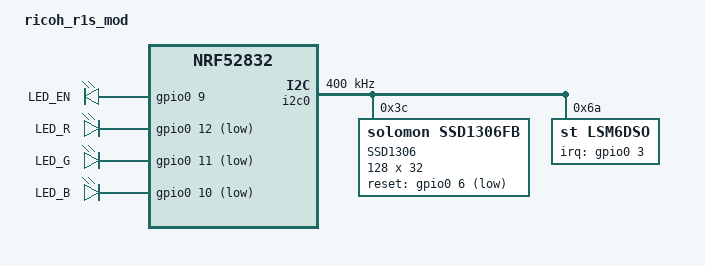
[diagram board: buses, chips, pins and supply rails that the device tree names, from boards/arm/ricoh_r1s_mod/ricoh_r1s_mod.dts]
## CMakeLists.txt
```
#
# Copyright (c) 2018 Nordic Semiconductor
#
# SPDX-License-Identifier: LicenseRef-Nordic-5-Clause
#
cmake_minimum_required(VERSION 3.20.0)
set(SHIELD ssd1306_128x32)

find_package(Zephyr REQUIRED HINTS $ENV{ZEPHYR_BASE})
project(NONE)

zephyr_cc_option(-ffunction-sections -fdata-sections -gcc-sections)

# NORDIC SDK APP START
target_sources(app PRIVATE src/main.c)


# NORDIC SDK APP END
zephyr_library_include_directories(.)
```

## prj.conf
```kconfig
#
# Copyright (c) 2018 Nordic Semiconductor
#
# SPDX-License-Identifier: LicenseRef-Nordic-5-Clause
#
CONFIG_NCS_SAMPLES_DEFAULTS=y

CONFIG_BT=y
CONFIG_BT_PERIPHERAL=y
CONFIG_BT_DEVICE_NAME="Ricoh_R1S"

CONFIG_BT_LBS=y
CONFIG_BT_LBS_POLL_BUTTON=y
CONFIG_DK_LIBRARY=y

# Enable mcumgr.
CONFIG_MCUMGR=y

# Enable most core commands.
CONFIG_MCUMGR_CMD_IMG_MGMT=y
CONFIG_MCUMGR_CMD_OS_MGMT=y

# Ensure an MCUboot-compatible binary is generated.
CONFIG_BOOTLOADER_MCUBOOT=y

# Allow for large Bluetooth data packets.
CONFIG_BT_L2CAP_TX_MTU=252
CONFIG_BT_BUF_ACL_RX_SIZE=256

# Enable the Bluetooth (unauthenticated) and shell mcumgr transports.
CONFIG_MCUMGR_SMP_BT=y
CONFIG_MCUMGR_SMP_BT_AUTHEN=n

# Some command handlers require a large stack.
CONFIG_SYSTEM_WORKQUEUE_STACK_SIZE=4096

#Logging

CONFIG_LOG=y #enable this for logging
CONFIG_BT_DEBUG_LOG=n
CONFIG_LOG_DEFAULT_LEVEL=3
CONFIG_I2C_LOG_LEVEL_INF=y
CONFIG_SENSOR_LOG_LEVEL_INF=y

CONFIG_LOG_MODE_DEFERRED=y
CONFIG_LOG_BACKEND_RTT=y #enable for RTT logging

CONFIG_USE_SEGGER_RTT=y
CONFIG_CBPRINTF_FP_SUPPORT=y

#end Logging

#CONFIG_GPIO=y
#CONFIG_SPI=y

#CONFIG_I2C_NRFX=y

#CONFIG_HAS_DTS_I2C=y
#CONFIG_I2C_0_NRF_TWI=y
#CONFIG_I2C_0=y

CONFIG_I2C=y

#Display

#CONFIG_DISPLAY=y
#CONFIG_SSD1306=y
#CONFIG_SSD1306_DEFAULT=y

#CONFIG_CHARACTER_FRAMEBUFFER=y
#CONFIG_CHARACTER_FRAMEBUFFER_USE_DEFAULT_FONTS=n

#end Display

#LVGL

CONFIG_DISPLAY=y


CONFIG_LV_Z_MEM_POOL_NUMBER_BLOCKS=6
CONFIG_MAIN_STACK_SIZE=2048

CONFIG_LVGL=y
CONFIG_LV_MEM_CUSTOM=y
CONFIG_LV_USE_LOG=y
CONFIG_LV_USE_LABEL=y
CONFIG_LV_USE_BTN=y
CONFIG_LV_USE_IMG=y
CONFIG_LV_FONT_MONTSERRAT_14=y

#CONFIG_SSD1306_REVERSE_MODE=y

#end LVGL

#Accelerometer

CONFIG_SENSOR=y
#CONFIG_LSM6DSO_TRIGGER_GLOBAL_THREAD=y


#end Accelerometer
```

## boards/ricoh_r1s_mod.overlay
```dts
/ {
    aliases {
        led0 = &led0;
        led1 = &led1;
        led2 = &led2;
        led3 = &led3;
        display0 = &ssd1306;
        accel0 = &lsmdso;

    };
};
```

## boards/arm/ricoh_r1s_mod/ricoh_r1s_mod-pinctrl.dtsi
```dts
&pinctrl {
	i2c0_default: i2c0_default {
		group1 {
			psels = <NRF_PSEL(TWIM_SDA, 0, 8)>,
				<NRF_PSEL(TWIM_SCL, 0, 7)>;
		};
	};

	i2c0_sleep: i2c0_sleep {
		group1 {
			psels = <NRF_PSEL(TWIM_SDA, 0, 8)>,
				<NRF_PSEL(TWIM_SCL, 0, 7)>;
			low-power-enable;
		};
	};
};
```

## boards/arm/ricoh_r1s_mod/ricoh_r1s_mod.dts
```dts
// Copyright (c) 2023 Nordic Semiconductor ASA
// SPDX-License-Identifier: Apache-2.0

/dts-v1/;
#include <nordic/nrf52832_qfaa.dtsi>
#include "ricoh_r1s_mod-pinctrl.dtsi"

/ {
	model = "ricoh_r1s_mod";
	compatible = "nikolozka,ricoh-r1s-mod";

	chosen {
		zephyr,sram = &sram0;
		zephyr,flash = &flash0;
		zephyr,code-partition = &slot0_partition;
	};


	leds {
		compatible = "gpio-leds";
		led0: led_0 {
			gpios = <&gpio0 9 GPIO_ACTIVE_HIGH>;
			label = "LED_EN";
		};
		led1: led_1 {
			gpios = <&gpio0 12 GPIO_ACTIVE_LOW>;
			label = "LED_R";
		};
		led2: led_2 {
			gpios = <&gpio0 11 GPIO_ACTIVE_LOW>;
			label = "LED_G";
		};
		led3: led_3 {
			gpios = <&gpio0 10 GPIO_ACTIVE_LOW>;
			label = "LED_B";
		};
	};

	/*pwmleds {
		compatible = "pwm-leds";

		red_pwm_led: red_pwm_led {
			pwms = <&gpio0 12 15625000 PWM_POLARITY_INVERTED>;
		};
		green_pwm_led: green_pwm_led {
			pwms = <&gpio0 11 15625000 PWM_POLARITY_INVERTED>;
		};
		blue_pwm_led: blue_pwm_led {
			pwms = <&gpio0 10 15625000 PWM_POLARITY_INVERTED>;
		};
	};*/
};

arduino_i2c: &i2c0 {
	compatible = "nordic,nrf-twi";
	//zephyr,concat-buf-size = <2048>;                                                      
	status = "okay";
	clock-frequency = <I2C_BITRATE_FAST>;
	pinctrl-0 = <&i2c0_default>;
	pinctrl-1 = <&i2c0_sleep>;
	pinctrl-names = "default", "sleep";

    ssd1306: ssd1306@3c {
        compatible = "solomon,ssd1306fb";
		status = "okay";
		label = "SSD1306";
		reset-gpios = <&gpio0 6 (GPIO_ACTIVE_LOW)>;
        reg = <0x3c>;
        height = <32>;
        width  = <128>;
        segment-offset  = <0>;
        page-offset     = <0>;
        display-offset  = <0>;
        multiplex-ratio = <31>;
        prechargep      = <0xD1>;
        segment-remap;
        com-invdir;
		com-sequential;

    };

	lsmdso: lsm6dso@6a {
        compatible = "st,lsm6dso";
		status = "okay";
		label = "LSM6DSO";
        reg = <0x6a>;
		irq-gpios = <&gpio0 3 GPIO_ACTIVE_HIGH>;
    };
};

&gpio0 {
	status = "okay";
};

&gpiote {
	status = "okay";
};

&spi0 {
	status = "disabled";
};

&flash0 {
	partitions {
		compatible = "fixed-partitions";
		#address-cells = <1>;
		#size-cells = <1>;

		boot_partition: partition@0 {
			label = "mcuboot";
			reg = <0x0 0xc000>;
		};
		slot0_partition: partition@c000 {
			label = "image-0";
			reg = <0xc000 0x37000>;
		};
		slot1_partition: partition@43000 {
			label = "image-1";
			reg = <0x43000 0x37000>;
		};
		/*scratch_partition: partition@70000 {
			label = "image-scratch";
			reg = <0x70000 0xa000>;
		};*/
		storage_partition: partition@7a000 {
			label = "storage";
			reg = <0x7a000 0x6000>;
		};
	};
};
```

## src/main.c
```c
/*
 * Copyright (c) 2018 Nordic Semiconductor ASA
 *
 * SPDX-License-Identifier: LicenseRef-Nordic-5-Clause
 */

#include <zephyr/types.h>
#include <stddef.h>
#include <string.h>
#include <errno.h>
#include <zephyr/sys/printk.h>
#include <zephyr/sys/byteorder.h>
#include <zephyr/kernel.h>
#include <zephyr/drivers/gpio.h>
#include <soc.h>
#include <zephyr/bluetooth/bluetooth.h>
#include <zephyr/bluetooth/hci.h>
#include <zephyr/bluetooth/conn.h>
#include <zephyr/bluetooth/uuid.h>
#include <zephyr/bluetooth/gatt.h>
#include <bluetooth/services/lbs.h>
#include <zephyr/settings/settings.h>
#include <zephyr/logging/log.h>
#include <zephyr/logging/log_ctrl.h>
#include <stdint.h>
#include <zephyr/device.h>
#include <zephyr/kernel.h>
#include <zephyr/drivers/display.h>
#include <zephyr/devicetree.h>
#include <zephyr/drivers/sensor.h>
#include <lvgl.h>





#define DISPLAY_BUFFER_PITCH 128
#define ENABLE_LSM6DSO
//#define ENABLE_DISPLAY

#ifdef ENABLE_DISPLAY
uint8_t buf2[512] = {
// 'freg', 128x32px
0xff, 0xff, 0xff, 0xff, 0xff, 0xff, 0xff, 0xff, 0xff, 0xff, 0xff, 0xff, 0xff, 0xff, 0xff, 0xff, 
0xff, 0xff, 0xff, 0xff, 0xff, 0xff, 0xff, 0xff, 0xff, 0xff, 0xff, 0xff, 0xff, 0xff, 0xff, 0xff, 
0xff, 0xff, 0xff, 0xff, 0xff, 0xff, 0xff, 0xff, 0xff, 0xff, 0xff, 0xff, 0xff, 0xff, 0xff, 0xff, 
0xff, 0xff, 0xff, 0xff, 0xff, 0x7f, 0x3f, 0x1f, 0x0f, 0x07, 0x03, 0x03, 0x01, 0x01, 0x00, 0x00, 
0x00, 0x00, 0x00, 0x00, 0x00, 0x01, 0x01, 0x01, 0x03, 0x03, 0x03, 0x07, 0x07, 0x07, 0x0f, 0x1f, 
0x3f, 0xff, 0xff, 0xff, 0xff, 0xff, 0xff, 0xff, 0xff, 0xff, 0xff, 0xff, 0xff, 0xff, 0xff, 0xff, 
0xff, 0xff, 0xff, 0xff, 0xff, 0xff, 0xff, 0xff, 0xff, 0xff, 0xff, 0xff, 0xff, 0xff, 0xff, 0xff, 
0xff, 0xff, 0xff, 0xff, 0xff, 0xff, 0xff, 0xff, 0xff, 0xff, 0xff, 0xff, 0xff, 0xff, 0xff, 0xff, 
0xff, 0xff, 0xff, 0xff, 0xff, 0xff, 0xff, 0xff, 0xff, 0xff, 0xff, 0xff, 0xff, 0xff, 0xff, 0xff, 
0xff, 0xff, 0xff, 0xff, 0xff, 0xff, 0xff, 0xff, 0xff, 0xff, 0xff, 0xff, 0xff, 0xff, 0xff, 0xff, 
0xff, 0xff, 0xff, 0xff, 0xff, 0xff, 0xff, 0xff, 0xff, 0xff, 0xff, 0xff, 0xff, 0xff, 0xff, 0xff, 
0xff, 0x7f, 0x1f, 0x03, 0x01, 0x00, 0x00, 0x08, 0x00, 0x00, 0x00, 0x00, 0x10, 0x00, 0x00, 0x00, 
0x00, 0x00, 0x00, 0x00, 0x00, 0x00, 0x00, 0x00, 0x00, 0x00, 0x40, 0x00, 0x00, 0x00, 0x00, 0x00, 
0x00, 0x00, 0xc3, 0xff, 0xff, 0xff, 0xff, 0xff, 0xff, 0xff, 0xff, 0xff, 0xff, 0xff, 0xff, 0xff, 
0xff, 0xff, 0xff, 0xff, 0xff, 0xff, 0xff, 0xff, 0xff, 0xff, 0xff, 0xff, 0xff, 0xff, 0xff, 0xff, 
0xff, 0xff, 0xff, 0xff, 0xff, 0xff, 0xff, 0xff, 0xff, 0xff, 0xff, 0xff, 0xff, 0xff, 0xff, 0xff, 
0xff, 0xff, 0xff, 0xff, 0xff, 0xff, 0xff, 0xff, 0xff, 0xff, 0xff, 0xff, 0xff, 0xff, 0xff, 0xff, 
0xff, 0xff, 0xff, 0xff, 0xff, 0xff, 0xff, 0xff, 0xff, 0xff, 0xff, 0xff, 0xff, 0xff, 0xff, 0xff, 
0xff, 0xff, 0xff, 0xff, 0xff, 0xff, 0xff, 0xff, 0xff, 0xff, 0xff, 0xff, 0xff, 0xff, 0xef, 0xef, 
0xf3, 0x80, 0xf0, 0xe0, 0xf8, 0xf0, 0xf0, 0xe0, 0xe0, 0xc0, 0xc0, 0xc0, 0x80, 0x80, 0x80, 0x80, 
0x80, 0x80, 0x80, 0xc0, 0xc0, 0xe0, 0xf0, 0x30, 0x08, 0x80, 0x00, 0xc0, 0xf0, 0xf0, 0xf8, 0xfc, 
0xfe, 0xff, 0xff, 0xff, 0xff, 0xff, 0xff, 0xff, 0xff, 0xff, 0xff, 0xff, 0xff, 0xff, 0xff, 0xff, 
0xff, 0xff, 0xff, 0xff, 0xff, 0xff, 0xff, 0xff, 0xff, 0xff, 0xff, 0xff, 0xff, 0xff, 0xff, 0xff, 
0xff, 0xff, 0xff, 0xff, 0xff, 0xff, 0xff, 0xff, 0xff, 0xff, 0xff, 0xff, 0xff, 0xff, 0xff, 0xff, 
0xff, 0xff, 0xff, 0xff, 0xff, 0xff, 0xff, 0xff, 0xff, 0xff, 0xff, 0xff, 0xff, 0xff, 0xff, 0xff, 
0xff, 0xff, 0xff, 0xff, 0xff, 0xff, 0xff, 0xff, 0xff, 0xff, 0xff, 0xff, 0xff, 0xff, 0xff, 0xff, 
0xff, 0xff, 0xff, 0xff, 0xff, 0xff, 0xff, 0xff, 0xff, 0xff, 0xff, 0xff, 0xff, 0xff, 0xff, 0xff, 
0xff, 0xff, 0xff, 0xff, 0xff, 0xff, 0xff, 0xff, 0xff, 0xff, 0xff, 0xff, 0xff, 0xff, 0xff, 0xff, 
0xff, 0xff, 0xff, 0xdb, 0xeb, 0xc1, 0xc1, 0xe0, 0xf3, 0xfd, 0xfe, 0xff, 0xff, 0xff, 0xff, 0xff, 
0xff, 0xff, 0xff, 0xff, 0xff, 0xff, 0xff, 0xff, 0xff, 0xff, 0xff, 0xff, 0xff, 0xff, 0xff, 0xff, 
0xff, 0xff, 0xff, 0xff, 0xff, 0xff, 0xff, 0xff, 0xff, 0xff, 0xff, 0xff, 0xff, 0xff, 0xff, 0xff, 
0xff, 0xff, 0xff, 0xff, 0xff, 0xff, 0xff, 0xff, 0xff, 0xff, 0xff, 0xff, 0xff, 0xff, 0xff, 0xff
};

static const struct device *display = DEVICE_DT_GET(DT_NODELABEL(ssd1306));
#endif
#ifdef CONFIG_LVGL
static const struct device *display = DEVICE_DT_GET(DT_NODELABEL(ssd1306));
static uint32_t count;
#endif
/*
todo:
RGB LED - minimally done
LUX METER
ADC
IMU
DISPLAY - is doing something
SHUTTER
SHOT LOGGING
SLEEP MODE
BLE STACK -  dfu + advertising
*/

#define DEVICE_NAME             CONFIG_BT_DEVICE_NAME
#define DEVICE_NAME_LEN         (sizeof(DEVICE_NAME) - 1)

#define RUN_LED_BLINK_INTERVAL	1000

LOG_MODULE_REGISTER(Ricoh_R1S, CONFIG_LOG_DEFAULT_LEVEL);

#define LED_COMM DT_ALIAS(led0)
#define LED_R DT_ALIAS(led1)
#define LED_B DT_ALIAS(led2)
#define LED_G DT_ALIAS(led3)

static struct gpio_dt_spec mled0 = GPIO_DT_SPEC_GET_OR(LED_COMM, 	gpios,{0});
static struct gpio_dt_spec mled1 = GPIO_DT_SPEC_GET_OR(LED_R, 		gpios,{0});
static struct gpio_dt_spec mled2 = GPIO_DT_SPEC_GET_OR(LED_G, 		gpios,{0});
static struct gpio_dt_spec mled3 = GPIO_DT_SPEC_GET_OR(LED_B, 		gpios,{0});


static const struct bt_data ad[] = {
	BT_DATA_BYTES(BT_DATA_FLAGS, (BT_LE_AD_GENERAL | BT_LE_AD_NO_BREDR)),
	BT_DATA(BT_DATA_NAME_COMPLETE, DEVICE_NAME, DEVICE_NAME_LEN),
};

/*static const struct bt_data sd[] = {
	BT_DATA_BYTES(BT_DATA_UUID128_ALL,
		      0x84, 0xaa, 0x60, 0x74, 0x52, 0x8a, 0x8b, 0x86,
		      0xd3, 0x4c, 0xb7, 0x1d, 0x1d, 0xdc, 0x53, 0x8d),
};*/

static const struct bt_data sd[] = {
	BT_DATA_BYTES(BT_DATA_UUID128_ALL, BT_UUID_LBS_VAL),
};


static void connected(struct bt_conn *conn, uint8_t err)
{
	if (err) {
		LOG_ERR("Connection failed (err %u)", err);
		return;
	}
	gpio_pin_set_dt(&mled2, 1);
	gpio_pin_set_dt(&mled3, 0);
	LOG_INF("Connected");
}

static void disconnected(struct bt_conn *conn, uint8_t reason)
{
	gpio_pin_set_dt(&mled2, 0);
	gpio_pin_set_dt(&mled3, 1);
	LOG_INF("Disconnected (reason %u)", reason);
}

#ifdef CONFIG_BT_LBS_SECURITY_ENABLED
static void security_changed(struct bt_conn *conn, bt_security_t level,
			     enum bt_security_err err)
{
	char addr[BT_ADDR_LE_STR_LEN];

	bt_addr_le_to_str(bt_conn_get_dst(conn), addr, sizeof(addr));

	if (!err) {
		LOG_INF("Security changed: %s level %u", addr, level);
	} else {
		LOG_ERR("Security failed: %s level %u err %d", addr, level,
			err);
	}
}
#endif

BT_CONN_CB_DEFINE(conn_callbacks) = {
	.connected        = connected,
	.disconnected     = disconnected,
#ifdef CONFIG_BT_LBS_SECURITY_ENABLED
	.security_changed = security_changed,
#endif
};

#if defined(CONFIG_BT_LBS_SECURITY_ENABLED)
static void auth_passkey_display(struct bt_conn *conn, unsigned int passkey)
{
	char addr[BT_ADDR_LE_STR_LEN];

	bt_addr_le_to_str(bt_conn_get_dst(conn), addr, sizeof(addr));

	LOG_INF("Passkey for %s: %06u", addr, passkey);
}

static void auth_cancel(struct bt_conn *conn)
{
	char addr[BT_ADDR_LE_STR_LEN];

	bt_addr_le_to_str(bt_conn_get_dst(conn), addr, sizeof(addr));

	LOG_INF("Pairing cancelled: %s", addr);
}

static void pairing_complete(struct bt_conn *conn, bool bonded)
{
	char addr[BT_ADDR_LE_STR_LEN];

	bt_addr_le_to_str(bt_conn_get_dst(conn), addr, sizeof(addr));

	LOG_INF("Pairing completed: %s, bonded: %d", addr, bonded);
}

static void pairing_failed(struct bt_conn *conn, enum bt_security_err reason)
{
	char addr[BT_ADDR_LE_STR_LEN];

	bt_addr_le_to_str(bt_conn_get_dst(conn), addr, sizeof(addr));

	LOG_ERR("Pairing failed conn: %s, reason %d", addr, reason);
}

static struct bt_conn_auth_cb conn_auth_callbacks = {
	.passkey_display = auth_passkey_display,
	.cancel = auth_cancel,
};

static struct bt_conn_auth_info_cb conn_auth_info_callbacks = {
	.pairing_complete = pairing_complete,
	.pairing_failed = pairing_failed
};
#else
static struct bt_conn_auth_cb conn_auth_callbacks;
static struct bt_conn_auth_info_cb conn_auth_info_callbacks;
#endif

static void app_led_cb(bool led_state)
{
	//dk_set_led(USER_LED, led_state);
}

static bool app_button_cb(void)
{
	//return app_button_state;
}

static struct bt_lbs_cb lbs_callbacs = {
	.led_cb    = app_led_cb,
	.button_cb = app_button_cb,
};

static void button_changed(uint32_t button_state, uint32_t has_changed)
{
	/*if (has_changed & USER_BUTTON) {
		uint32_t user_button_state = button_state & USER_BUTTON;

		bt_lbs_send_button_state(user_button_state);
		app_button_state = user_button_state ? true : false;
	}*/
}

static int init_button(void)
{
	int err;

	err = dk_buttons_init(button_changed);
	if (err) {
		printk("Cannot init buttons (err: %d)\n", err);
	}

	return err;
}

int config_leds(){

	int ret;

	if (!device_is_ready(mled0.port)) {
		LOG_ERR("Error: LED device is not ready %s !", mled0.port->name);
		return -1;
	}
	ret = gpio_pin_configure_dt(&mled0, GPIO_OUTPUT);
	if (ret != 0) {
		LOG_ERR("Failed to configure LED device");
		return -1;
	}

	if (!device_is_ready(mled1.port)) {
		LOG_ERR("Error: LED device is not ready %s !", mled1.port->name);
		return -1;
	}
	ret = gpio_pin_configure_dt(&mled1, GPIO_OUTPUT);
	if (ret != 0) {
		LOG_ERR("Failed to configure LED device");
		return -1;
	}

	if (!device_is_ready(mled2.port)) {
		LOG_ERR("Error: LED device is not ready %s !", mled2.port->name);
		return -1;
	}
	ret = gpio_pin_configure_dt(&mled2, GPIO_OUTPUT);
	if (ret != 0) {
		LOG_ERR("Failed to configure LED device");
		return -1;
	}

	if (!device_is_ready(mled3.port)) {
		LOG_ERR("Error: LED device is not ready %s !", mled3.port->name);
		return -1;
	}
	ret = gpio_pin_configure_dt(&mled3, GPIO_OUTPUT);
	if (ret != 0) {
		LOG_ERR("Failed to configure LED device");
		return -1;
	}
		
	gpio_pin_set_dt(&mled0, 1);
	gpio_pin_set_dt(&mled1, 0);	
	gpio_pin_set_dt(&mled2, 0);
	gpio_pin_set_dt(&mled3, 0);

	return 0;

}

#ifdef ENABLE_LSM6DSO

static inline float out_ev(struct sensor_value *val)
{
	return (val->val1 + (float)val->val2 / 1000000);
}

static void fetch_and_display(const struct device *dev)
{
	struct sensor_value x, y, z;
	static int trig_cnt;

	trig_cnt++;

	// lsm6dso accel 
	sensor_sample_fetch_chan(dev, SENSOR_CHAN_ACCEL_XYZ);
	sensor_channel_get(dev, SENSOR_CHAN_ACCEL_X, &x);
	sensor_channel_get(dev, SENSOR_CHAN_ACCEL_Y, &y);
	sensor_channel_get(dev, SENSOR_CHAN_ACCEL_Z, &z);

	LOG_INF("accel x:%f ms/2 y:%f ms/2 z:%f ms/2", out_ev(&x), out_ev(&y), out_ev(&z));

	// lsm6dso gyro 
	sensor_sample_fetch_chan(dev, SENSOR_CHAN_GYRO_XYZ);
	sensor_channel_get(dev, SENSOR_CHAN_GYRO_X, &x);
	sensor_channel_get(dev, SENSOR_CHAN_GYRO_Y, &y);
	sensor_channel_get(dev, SENSOR_CHAN_GYRO_Z, &z);

	LOG_INF("gyro x:%f rad/s y:%f rad/s z:%f rad/s", out_ev(&x), out_ev(&y), out_ev(&z));
}

static int set_sampling_freq(const struct device *dev)
{
	int ret = 0;
	struct sensor_value odr_attr;

	// set accel/gyro sampling frequency to 12.5 Hz 
	odr_attr.val1 = 12.5;
	odr_attr.val2 = 0;

	ret = sensor_attr_set(dev, SENSOR_CHAN_ACCEL_XYZ,
			SENSOR_ATTR_SAMPLING_FREQUENCY, &odr_attr);
	if (ret != 0) {
		LOG_INF("Cannot set sampling frequency for accelerometer.");
		return ret;
	}

	ret = sensor_attr_set(dev, SENSOR_CHAN_GYRO_XYZ,
			SENSOR_ATTR_SAMPLING_FREQUENCY, &odr_attr);
	if (ret != 0) {
		LOG_INF("Cannot set sampling frequency for gyro.");
		return ret;
	}

	return 0;
}

#endif

void main(void)
{
	int err;

	LOG_INIT();
	LOG_INF("Ricoh_R1s Starting");

	if(config_leds()){
		LOG_ERR("Couldn't configure LEDs");
	}
#ifdef ENABLE_LSM6DSO
	const struct device *const dev = DEVICE_DT_GET(DT_NODELABEL(lsmdso));

	if (!device_is_ready(dev)) {
		printk("%s: device not ready.", dev->name);
		//return;
	}

	LOG_INF("Testing LSM6DSO sensor in polling mode.\n");
	if (set_sampling_freq(dev) != 0) {
		//return;
	}

	fetch_and_display(dev);

#endif

#ifdef ENABLE_DISPLAY

	if (display == NULL) {
		LOG_ERR("device pointer is NULL");
		return;
	}

	if (!device_is_ready(display)) {
		LOG_ERR("display device is not ready");
		return;
	}

	struct display_capabilities capabilities;
	display_get_capabilities(display, &capabilities);

	const uint16_t x_res = capabilities.x_resolution;
	const uint16_t y_res = capabilities.y_resolution;

	LOG_DBG("x_resolution: %d", x_res);
	LOG_DBG("y_resolution: %d", y_res);
	LOG_DBG("supported pixel formats: %d", capabilities.supported_pixel_formats);
	LOG_DBG("screen_info: %d", capabilities.screen_info);
	LOG_DBG("current_pixel_format: %d", capabilities.current_pixel_format);
	LOG_DBG("current_orientation: %d", capabilities.current_orientation);
		
	const struct display_buffer_descriptor buf_desc = {
		.width = x_res,
		.height = y_res,
		.buf_size = x_res * y_res,
		.pitch = DISPLAY_BUFFER_PITCH
	};

	if (display_write(display, 0, 0, &buf_desc, buf2) != 0) {
		LOG_ERR("could not write to display");
	}

	if (display_set_contrast(display, 0) != 0) {
		LOG_ERR("could not set display contrast");
	}
	size_t ms_sleep = 5;

#endif

#ifdef CONFIG_LVGL
	char count_str[11] = {0};
	lv_obj_t *hello_world_label;
	lv_obj_t *count_label;

	if (display == NULL) {
		LOG_ERR("device pointer is NULL");
		return;
	}

	if (!device_is_ready(display)) {
		LOG_ERR("display device is not ready");
		return;
	}

	if (IS_ENABLED(CONFIG_LV_Z_POINTER_KSCAN)) {
		lv_obj_t *hello_world_button;

		hello_world_button = lv_btn_create(lv_scr_act());
		lv_obj_align(hello_world_button, LV_ALIGN_CENTER, 0, 0);
		hello_world_label = lv_label_create(hello_world_button);
	} else {
		hello_world_label = lv_label_create(lv_scr_act());
	}

	lv_label_set_text(hello_world_label, "Hello world!");
	lv_obj_align(hello_world_label, LV_ALIGN_CENTER, 0, 0);

	count_label = lv_label_create(lv_scr_act());
	lv_obj_align(count_label, LV_ALIGN_BOTTOM_MID, 0, 0);

	lv_task_handler();
	display_blanking_off(display);

#endif

	if (IS_ENABLED(CONFIG_BT_LBS_SECURITY_ENABLED)) {
		err = bt_conn_auth_cb_register(&conn_auth_callbacks);
		if (err) {
			LOG_ERR("Failed to register authorization callbacks.");
			return;
		}

		err = bt_conn_auth_info_cb_register(&conn_auth_info_callbacks);
		if (err) {
			LOG_ERR("Failed to register authorization info callbacks.");
			return;
		}
	}

	LOG_INF("build time: " __DATE__ " " __TIME__);

	err = bt_enable(NULL);
	if (err) {
		LOG_ERR("Bluetooth init failed (err %d)", err);
		return;
	}

	LOG_INF("Bluetooth initialized");

	if (IS_ENABLED(CONFIG_SETTINGS)) {
		settings_load();
	}

	err = bt_lbs_init(&lbs_callbacs);
	if (err) {
		LOG_ERR("Failed to init LBS (err:%d)", err);
		return;
	}

	err = bt_le_adv_start(BT_LE_ADV_CONN, ad, ARRAY_SIZE(ad), sd, ARRAY_SIZE(sd));
	if (err) {
		LOG_ERR("Advertising failed to start (err %d)", err);
		return;
	}

	LOG_INF("Advertising successfully started");


	while(1) {

		if (LOG_PROCESS() == false) {
			gpio_pin_toggle_dt(&mled1);
#ifdef ENABLE_LSM6DSO
			fetch_and_display(dev);
#endif
#ifdef CONFIG_LVGL
			sprintf(count_str, "%d", count/100U);
			lv_label_set_text(count_label, count_str);
			lv_task_handler();
			++count;	
#endif
			k_sleep(K_MSEC(RUN_LED_BLINK_INTERVAL));
		}
	}
}
```
